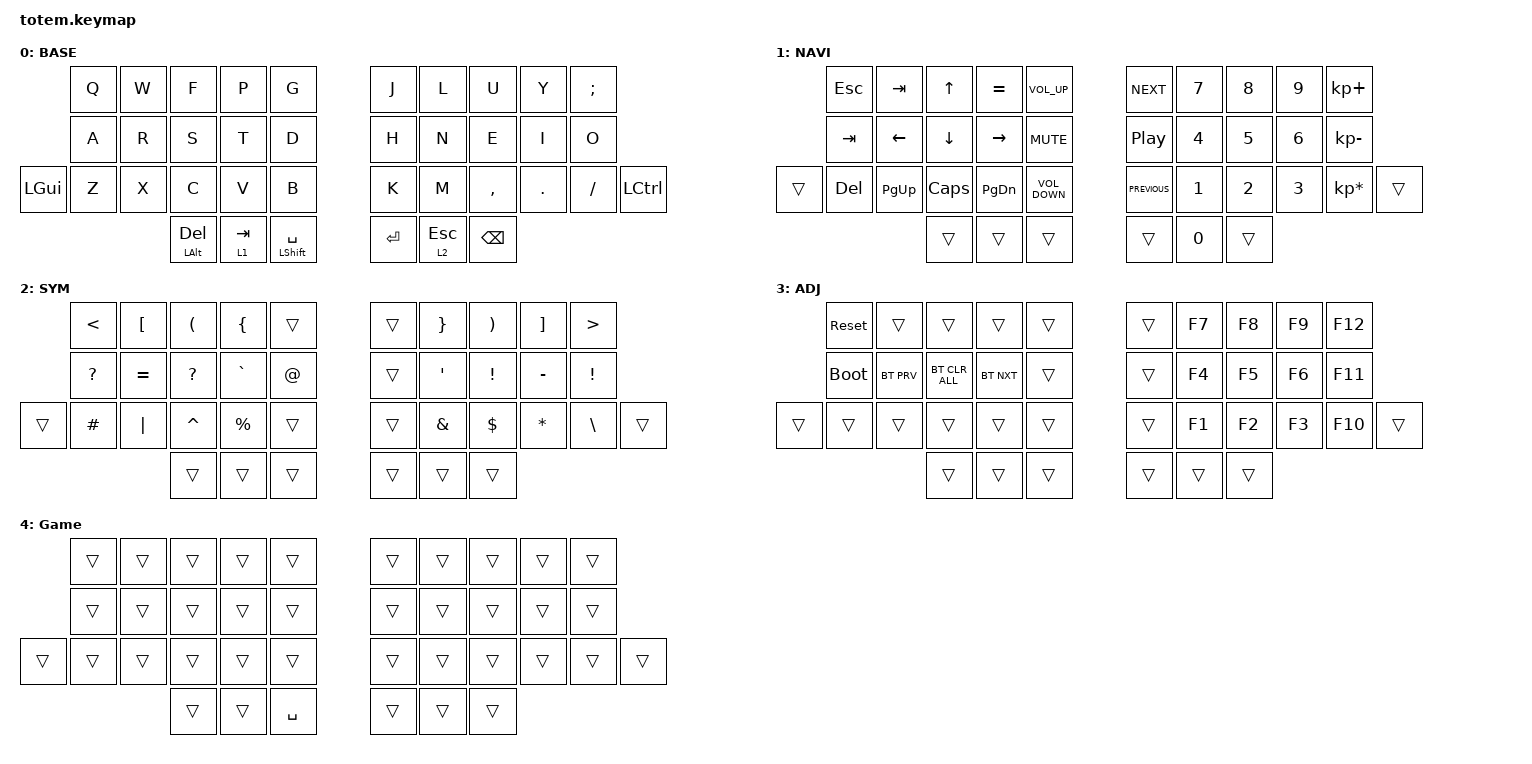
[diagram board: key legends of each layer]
//
//                                                        ▀▀▀▀▀     ▀▀▀▀▀          ▀▀█▀▀
//                                                        ▄▀▀▀▄  ▄  ▄▀▀▀▄  ▄  ▄▀▀▀▄  █  ▄▀▀▀▄
//                                                        █   █  █  █   █  █  █   █  █  █   █
//                                                         ▀▀▀   █   ▀▀▀   █   ▀▀▀   ▀   ▀▀▀
//                                                               █      ▄▄▄█▄▄▄    █   █  
//                                                               ▀      █  █  █     █▄█
//                                                             ▀▀▀▀▀    █  █  █      ▀
//                                                                      ▀  ▀  ▀
//
// ▄▄▄▄▄▄▄▄▄▄▄▄▄▄▄▄▄▄▄▄▄▄▄▄▄▄▄▄▄▄▄▄▄▄▄▄▄▄▄▄▄▄▄▄▄▄▄▄▄▄▄▄▄▄▄▄▄▄▄▄▄▄▄▄▄▄▄▄▄▄▄▄▄▄▄▄▄▄▄▄▄▄▄▄▄▄▄▄▄▄▄▄▄▄▄▄▄▄▄▄▄▄▄▄▄▄▄▄▄▄▄▄▄▄▄▄▄▄▄▄▄▄▄▄▄▄▄▄▄▄▄▄▄▄▄▄▄▄▄▄▄▄▄▄▄▄▄▄▄

#include <behaviors.dtsi>
#include <dt-bindings/zmk/bt.h>
#include <dt-bindings/zmk/keys.h>

#define BASE 0
#define NAV  1
#define SYM  2
#define ADJ  3
#define TVP1 4
#define TVP2 5

&mt {
    quick-tap-ms = <70>;
    flavor = "tap-preferred";
    tapping-term-ms = <170>;
};

/ {
    combos {
        compatible = "zmk,combos";

        layer3-toggle {
            bindings = <&tog 3>;
            key-positions = <37 32>;
        };

        gaming {
            bindings = <&tog 4>;
            key-positions = <1 2 3>;
        };
    };

    keymap {
        compatible = "zmk,keymap";

        // ▄▄▄▄▄▄▄▄▄▄▄▄▄▄▄▄▄▄▄▄▄▄▄▄▄▄▄▄▄▄▄▄▄▄▄▄▄▄▄▄▄▄▄▄▄▄▄▄▄▄▄▄▄▄▄▄▄▄▄▄▄▄▄▄▄▄▄▄▄▄▄▄▄▄▄▄▄▄▄▄▄▄▄▄▄▄▄▄▄▄▄▄▄▄▄▄▄▄▄▄▄▄▄▄▄▄▄▄▄▄▄▄▄▄▄▄▄▄▄▄▄▄▄▄▄▄▄▄▄▄▄▄▄▄▄▄▄▄▄▄▄▄▄▄▄▄▄▄▄

        base_layer {
            // ┏━━━━━━━━━━━━━━━━━━━━━━━━━━━━━━━━━━━━━━━┓

            label = "BASE";

            // ┗━━━━━━━━━━━━━━━━━━━━━━━━━━━━━━━━━━━━━━━┛
            //             ┏━━━━━━━━━━━┳━━━━━━━━━━━┳━━━━━━━━━━━┳━━━━━━━━━━━┳━━━━━━━━━━━┓   ┏━━━━━━━━━━━┳━━━━━━━━━━━┳━━━━━━━━━━━┳━━━━━━━━━━━┳━━━━━━━━━━━┓
            //             ┃     Q     ┃     W     ┃     F     ┃     P     ┃     G     ┃   ┃     J     ┃     L     ┃     U     ┃     Y     ┃     ;     ┃
            //             ┣━━━━━━━━━━━╋━━━━━━━━━━━╋━━━━━━━━━━━╋━━━━━━━━━━━╋━━━━━━━━━━━┫   ┣━━━━━━━━━━━╋━━━━━━━━━━━╋━━━━━━━━━━━╋━━━━━━━━━━━╋━━━━━━━━━━━┫
            //             ┃     A     ┃     R     ┃     S     ┃     T     ┃     D     ┃   ┃     H     ┃     N     ┃     E     ┃     I     ┃     O     ┃
            // ┏━━━━━━━━━━━╋━━━━━━━━━━━╋━━━━━━━━━━━╋━━━━━━━━━━━╋━━━━━━━━━━━╋━━━━━━━━━━━┫   ┣━━━━━━━━━━━╋━━━━━━━━━━━╋━━━━━━━━━━━╋━━━━━━━━━━━╋━━━━━━━━━━━╋━━━━━━━━━━━┓
            // ┃     Q     ┃     Z     ┃     X     ┃     C     ┃     V     ┃     B     ┃   ┃     K     ┃     M     ┃     ,     ┃     .     ┃     /     ┃     \     ┃
            // ┗━━━━━━━━━━━┻━━━━━━━━━━━┻━━━━━━━━━━━╋━━━━━━━━━━━╋━━━━━━━━━━━╋━━━━━━━━━━━┫   ┣━━━━━━━━━━━╋━━━━━━━━━━━╋━━━━━━━━━━━╋━━━━━━━━━━━┻━━━━━━━━━━━┻━━━━━━━━━━━┛
            //                                     ┃    DEL    ┃    TAB    ┃    SPC    ┃   ┃   ENTER   ┃           ┃   BSPC    ┃
            //                                     ┗━━━━━━━━━━━┻━━━━━━━━━━━┻━━━━━━━━━━━┛   ┗━━━━━━━━━━━┻━━━━━━━━━━━┻━━━━━━━━━━━┛

            bindings = <
              &kp Q  &kp W  &kp F                &kp P      &kp G                   &kp J      &kp L         &kp U      &kp Y    &kp SEMI
              &kp A  &kp R  &kp S                &kp T      &kp D                   &kp H      &kp N         &kp E      &kp I    &kp O
&kp LEFT_GUI  &kp Z  &kp X  &kp C                &kp V      &kp B                   &kp K      &kp M         &kp COMMA  &kp DOT  &kp FSLH  &kp LCTRL
                            &mt LEFT_ALT DELETE  &lt 1 TAB  &mt LEFT_SHIFT SPACE    &kp ENTER  &lt 2 ESCAPE  &kp BSPC
            >;
        };

        // ▄▄▄▄▄▄▄▄▄▄▄▄▄▄▄▄▄▄▄▄▄▄▄▄▄▄▄▄▄▄▄▄▄▄▄▄▄▄▄▄▄▄▄▄▄▄▄▄▄▄▄▄▄▄▄▄▄▄▄▄▄▄▄▄▄▄▄▄▄▄▄▄▄▄▄▄▄▄▄▄▄▄▄▄▄▄▄▄▄▄▄▄▄▄▄▄▄▄▄▄▄▄▄▄▄▄▄▄▄▄▄▄▄▄▄▄▄▄▄▄▄▄▄▄▄▄▄▄▄▄▄▄▄▄▄▄▄▄▄▄▄▄▄▄▄▄▄▄▄

        nav_layer {
            // ┏━━━━━━━━━━━━━━━━━━━━━━━━━━━━━━━━━━━━━━━┓

            label = "NAVI";

            // ┗━━━━━━━━━━━━━━━━━━━━━━━━━━━━━━━━━━━━━━━┛
            //             ┏━━━━━━━━━━━┳━━━━━━━━━━━┳━━━━━━━━━━━┳━━━━━━━━━━━┳━━━━━━━━━━━┓   ┏━━━━━━━━━━━┳━━━━━━━━━━━┳━━━━━━━━━━━┳━━━━━━━━━━━┳━━━━━━━━━━━┓
            //             ┃           ┃           ┃     UP    ┃           ┃     {     ┃   ┃     }     ┃     7     ┃     8     ┃     9     ┃     +     ┃
            //             ┣━━━━━━━━━━━╋━━━━━━━━━━━╋━━━━━━━━━━━╋━━━━━━━━━━━╋━━━━━━━━━━━┫   ┣━━━━━━━━━━━╋━━━━━━━━━━━╋━━━━━━━━━━━╋━━━━━━━━━━━╋━━━━━━━━━━━┫
            //             ┃   SHIFT   ┃   LEFT    ┃    DOWN   ┃   RIGHT   ┃     [     ┃   ┃     ]     ┃     4     ┃     5     ┃     6     ┃     -     ┃
            // ┏━━━━━━━━━━━╋━━━━━━━━━━━╋━━━━━━━━━━━╋━━━━━━━━━━━╋━━━━━━━━━━━╋━━━━━━━━━━━┫   ┣━━━━━━━━━━━╋━━━━━━━━━━━╋━━━━━━━━━━━╋━━━━━━━━━━━╋━━━━━━━━━━━╋━━━━━━━━━━━┓
            // ┃           ┃           ┃   P UP    ┃  C LOCK   ┃  P DOWN   ┃     (     ┃   ┃     )     ┃     1     ┃     2     ┃     3     ┃     *     ┃           ┃
            // ┗━━━━━━━━━━━┻━━━━━━━━━━━┻━━━━━━━━━━━╋━━━━━━━━━━━╋━━━━━━━━━━━╋━━━━━━━━━━━┫   ┣━━━━━━━━━━━╋━━━━━━━━━━━╋━━━━━━━━━━━╋━━━━━━━━━━━┻━━━━━━━━━━━┻━━━━━━━━━━━┛
            //                                     ┃           ┃    TAB    ┃    SPC    ┃   ┃    DEL    ┃     0     ┃           ┃
            //                                     ┗━━━━━━━━━━━┻━━━━━━━━━━━┻━━━━━━━━━━━┛   ┗━━━━━━━━━━━┻━━━━━━━━━━━┻━━━━━━━━━━━┛

            bindings = <
        &kp ESC  &kp TAB    &kp UP          &kp EQUAL        &kp C_VOLUME_UP      &kp C_NEXT        &kp N7        &kp N8        &kp N9        &kp KP_PLUS
        &kp TAB  &kp LEFT   &kp DOWN_ARROW  &kp RIGHT_ARROW  &kp C_MUTE           &kp C_PLAY_PAUSE  &kp NUMBER_4  &kp NUMBER_5  &kp NUMBER_6  &kp KP_MINUS
&trans  &kp DEL  &kp PG_UP  &kp CAPS        &kp PG_DN        &kp C_VOLUME_DOWN    &kp C_PREVIOUS    &kp NUMBER_1  &kp N2        &kp N3        &kp KP_MULTIPLY  &trans
                            &trans          &trans           &trans               &trans            &kp N0        &trans
            >;
        };

        // ▄▄▄▄▄▄▄▄▄▄▄▄▄▄▄▄▄▄▄▄▄▄▄▄▄▄▄▄▄▄▄▄▄▄▄▄▄▄▄▄▄▄▄▄▄▄▄▄▄▄▄▄▄▄▄▄▄▄▄▄▄▄▄▄▄▄▄▄▄▄▄▄▄▄▄▄▄▄▄▄▄▄▄▄▄▄▄▄▄▄▄▄▄▄▄▄▄▄▄▄▄▄▄▄▄▄▄▄▄▄▄▄▄▄▄▄▄▄▄▄▄▄▄▄▄▄▄▄▄▄▄▄▄▄▄▄▄▄▄▄▄▄▄▄▄▄▄▄▄

        sim_layer {
            // ┏━━━━━━━━━━━━━━━━━━━━━━━━━━━━━━━━━━━━━━━┓

            label = "SYM";

            // ┗━━━━━━━━━━━━━━━━━━━━━━━━━━━━━━━━━━━━━━━┛
            //             ┏━━━━━━━━━━━┳━━━━━━━━━━━┳━━━━━━━━━━━┳━━━━━━━━━━━┳━━━━━━━━━━━┓   ┏━━━━━━━━━━━┳━━━━━━━━━━━┳━━━━━━━━━━━┳━━━━━━━━━━━┳━━━━━━━━━━━┓
            //             ┃     !     ┃     @     ┃     #     ┃     $     ┃     %     ┃   ┃     ˆ     ┃     &     ┃     Ü     ┃     '     ┃     "     ┃
            //             ┣━━━━━━━━━━━╋━━━━━━━━━━━╋━━━━━━━━━━━╋━━━━━━━━━━━╋━━━━━━━━━━━┫   ┣━━━━━━━━━━━╋━━━━━━━━━━━╋━━━━━━━━━━━╋━━━━━━━━━━━╋━━━━━━━━━━━┫
            //             ┃     Ä     ┃           ┃    SZ     ┃           ┃           ┃   ┃   MUTE    ┃   YEN     ┃   EURO    ┃  POUND    ┃     Ö     ┃
            // ┏━━━━━━━━━━━╋━━━━━━━━━━━╋━━━━━━━━━━━╋━━━━━━━━━━━╋━━━━━━━━━━━╋━━━━━━━━━━━┫   ┣━━━━━━━━━━━╋━━━━━━━━━━━╋━━━━━━━━━━━╋━━━━━━━━━━━╋━━━━━━━━━━━╋━━━━━━━━━━━┓
            // ┃           ┃  EMAIL1   ┃  EMAIL2   ┃           ┃           ┃           ┃   ┃   VOL-    ┃   VOL+    ┃   LAST    ┃   NEXT    ┃     \     ┃           ┃
            // ┗━━━━━━━━━━━┻━━━━━━━━━━━┻━━━━━━━━━━━╋━━━━━━━━━━━╋━━━━━━━━━━━╋━━━━━━━━━━━┫   ┣━━━━━━━━━━━╋━━━━━━━━━━━╋━━━━━━━━━━━╋━━━━━━━━━━━┻━━━━━━━━━━━┻━━━━━━━━━━━┛
            //                                     ┃           ┃    GIF    ┃    ADJ    ┃   ┃           ┃           ┃           ┃
            //                                     ┗━━━━━━━━━━━┻━━━━━━━━━━━┻━━━━━━━━━━━┛   ┗━━━━━━━━━━━┻━━━━━━━━━━━┻━━━━━━━━━━━┛

            bindings = <
        &kp LESS_THAN  &kp LEFT_BRACKET  &kp LEFT_PARENTHESIS  &kp LEFT_BRACE  &trans         &trans  &kp RIGHT_BRACE  &kp RIGHT_PARENTHESIS  &kp RIGHT_BRACKET  &kp GREATER_THAN
        &kp QUESTION   &kp EQUAL         &kp QUESTION          &kp GRAVE       &kp AT_SIGN    &trans  &kp SQT          &kp EXCLAMATION        &kp MINUS          &kp EXCL
&trans  &kp HASH       &kp PIPE          &kp CARET             &kp PERCENT     &trans         &trans  &kp AMPS         &kp DOLLAR             &kp ASTERISK       &kp BACKSLASH     &trans
                                         &trans                &trans          &trans         &trans  &trans           &trans
            >;
        };

        // ▄▄▄▄▄▄▄▄▄▄▄▄▄▄▄▄▄▄▄▄▄▄▄▄▄▄▄▄▄▄▄▄▄▄▄▄▄▄▄▄▄▄▄▄▄▄▄▄▄▄▄▄▄▄▄▄▄▄▄▄▄▄▄▄▄▄▄▄▄▄▄▄▄▄▄▄▄▄▄▄▄▄▄▄▄▄▄▄▄▄▄▄▄▄▄▄▄▄▄▄▄▄▄▄▄▄▄▄▄▄▄▄▄▄▄▄▄▄▄▄▄▄▄▄▄▄▄▄▄▄▄▄▄▄▄▄▄▄▄▄▄▄▄▄▄▄▄▄▄

        adjust_layer {
            // ┏━━━━━━━━━━━━━━━━━━━━━━━━━━━━━━━━━━━━━━━┓

            label = "ADJ";

            // ┗━━━━━━━━━━━━━━━━━━━━━━━━━━━━━━━━━━━━━━━┛
            //             ┏━━━━━━━━━━━┳━━━━━━━━━━━┳━━━━━━━━━━━┳━━━━━━━━━━━┳━━━━━━━━━━━┓   ┏━━━━━━━━━━━┳━━━━━━━━━━━┳━━━━━━━━━━━┳━━━━━━━━━━━┳━━━━━━━━━━━┓
            //             ┃   RESET   ┃ BT CLEAR  ┃  OUT TOG  ┃           ┃           ┃   ┃           ┃    F7     ┃    F8     ┃    F9     ┃    F12    ┃
            //             ┣━━━━━━━━━━━╋━━━━━━━━━━━╋━━━━━━━━━━━╋━━━━━━━━━━━╋━━━━━━━━━━━┫   ┣━━━━━━━━━━━╋━━━━━━━━━━━╋━━━━━━━━━━━╋━━━━━━━━━━━╋━━━━━━━━━━━┫
            //             ┃ BOOTLOAD  ┃ BT NEXT   ┃           ┃           ┃           ┃   ┃           ┃    F4     ┃    F5     ┃    F6     ┃    F11    ┃
            // ┏━━━━━━━━━━━╋━━━━━━━━━━━╋━━━━━━━━━━━╋━━━━━━━━━━━╋━━━━━━━━━━━╋━━━━━━━━━━━┫   ┣━━━━━━━━━━━╋━━━━━━━━━━━╋━━━━━━━━━━━╋━━━━━━━━━━━╋━━━━━━━━━━━╋━━━━━━━━━━━┓
            // ┃           ┃           ┃ BT PREV   ┃           ┃           ┃           ┃   ┃           ┃    F1     ┃    F2     ┃    F3     ┃    F10    ┃           ┃
            // ┗━━━━━━━━━━━┻━━━━━━━━━━━┻━━━━━━━━━━━╋━━━━━━━━━━━╋━━━━━━━━━━━╋━━━━━━━━━━━┫   ┣━━━━━━━━━━━╋━━━━━━━━━━━╋━━━━━━━━━━━╋━━━━━━━━━━━┻━━━━━━━━━━━┻━━━━━━━━━━━┛
            //                                     ┃           ┃           ┃           ┃   ┃           ┃           ┃           ┃
            //                                     ┗━━━━━━━━━━━┻━━━━━━━━━━━┻━━━━━━━━━━━┛   ┗━━━━━━━━━━━┻━━━━━━━━━━━┻━━━━━━━━━━━┛

            bindings = <
        &sys_reset   &trans      &trans          &trans      &trans    &trans  &kp F7  &kp F8  &kp F9  &kp F12
        &bootloader  &bt BT_PRV  &bt BT_CLR_ALL  &bt BT_NXT  &trans    &trans  &kp F4  &kp F5  &kp F6  &kp F11
&trans  &trans       &trans      &trans          &trans      &trans    &trans  &kp F1  &kp F2  &kp F3  &kp F10  &trans
                                 &trans          &trans      &trans    &trans  &trans  &trans
            >;
        };

        Game {
            bindings = <
        &trans  &trans  &trans  &trans  &trans       &trans  &trans  &trans  &trans  &trans
        &trans  &trans  &trans  &trans  &trans       &trans  &trans  &trans  &trans  &trans
&trans  &trans  &trans  &trans  &trans  &trans       &trans  &trans  &trans  &trans  &trans  &trans
                        &trans  &trans  &kp SPACE    &trans  &trans  &trans
            >;
        };

        // ▄▄▄▄▄▄▄▄▄▄▄▄▄▄▄▄▄▄▄▄▄▄▄▄▄▄▄▄▄▄▄▄▄▄▄▄▄▄▄▄▄▄▄▄▄▄▄▄▄▄▄▄▄▄▄▄▄▄▄▄▄▄▄▄▄▄▄▄▄▄▄▄▄▄▄▄▄▄▄▄▄▄▄▄▄▄▄▄▄▄▄▄▄▄▄▄▄▄▄▄▄▄▄▄▄▄▄▄▄▄▄▄▄▄▄▄▄▄▄▄▄▄▄▄▄▄▄▄▄▄▄▄▄▄▄▄▄▄▄▄▄▄▄▄▄▄▄▄▄
        // ▄▄▄▄▄▄▄▄▄▄▄▄▄▄▄▄▄▄▄▄▄▄▄▄▄▄▄▄▄▄▄▄▄▄▄▄▄▄▄▄▄▄▄▄▄▄▄▄▄▄▄▄▄▄▄▄▄▄▄▄▄▄▄▄▄▄▄▄▄▄▄▄▄▄▄▄▄▄▄▄▄▄▄▄▄▄▄▄▄▄▄▄▄▄▄▄▄▄▄▄▄▄▄▄▄▄▄▄▄▄▄▄▄▄▄▄▄▄▄▄▄▄▄▄▄▄▄▄▄▄▄▄▄▄▄▄▄▄▄▄▄▄▄▄▄▄▄▄▄
    };
};
